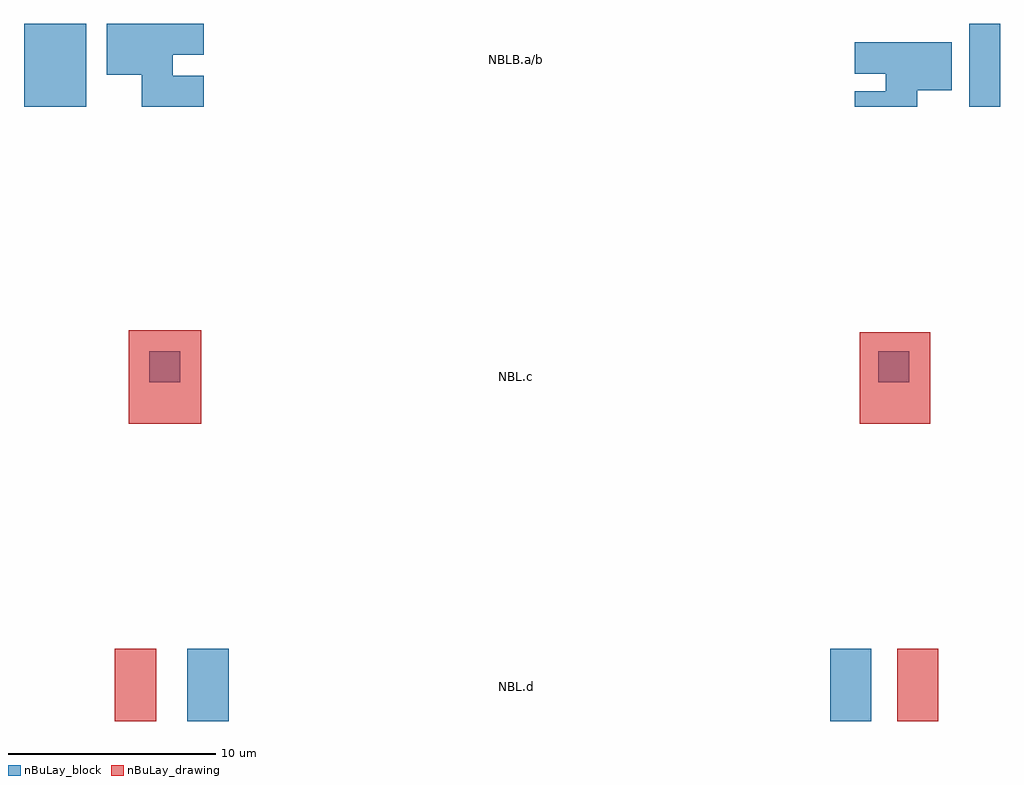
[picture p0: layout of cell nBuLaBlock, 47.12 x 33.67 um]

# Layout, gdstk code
import gdstk
lib = gdstk.Library(unit=1e-6, precision=1e-09)
def R(c, l, rs):  # rectangles x0, y0, x1, y1
    for r in rs: c.add(gdstk.rectangle(r[:2], r[2:], *l))
def P(c, l, *ps):  # polygons
    for p in ps: c.add(gdstk.Polygon(p, *l))
nBuLay_drawing = (32, 0)
nBuLay_block = (32, 21)

nbulablock = lib.new_cell('nBuLaBlock')
R(nbulablock, nBuLay_drawing, [(-19.405,-39.22,-17.405,-35.72), (18.36,-39.22,20.36,-35.72), (-18.74,-24.85,-15.24,-20.35), (16.56,-24.85,19.96,-20.45)])
R(nbulablock, nBuLay_block, [(-15.905,-39.22,-13.905,-35.72), (15.125,-39.22,17.125,-35.72), (-17.74,-22.85,-16.24,-21.35), (17.46,-22.85,18.96,-21.35), (-23.79,-9.545,-20.79,-5.545), (21.835,-9.545,23.33,-5.545)])
P(nbulablock, nBuLay_block, [(16.325,-9.545),(16.325,-8.8),(17.825,-8.8),(17.825,-7.95),(16.325,-7.95),(16.325,-6.45),(21.01,-6.45),(21.01,-8.755),(19.325,-8.755),(19.325,-9.545)],
  [(-18.105,-9.545),(-18.105,-8),(-19.79,-8),(-19.79,-5.545),(-15.105,-5.545),(-15.105,-7.045),(-16.605,-7.045),(-16.605,-8.045),(-15.105,-8.045),(-15.105,-9.545)])
nbulablock.add(gdstk.Label('5.4 nBuLay:block', (0,21), layer=63, texttype=0))
nbulablock.add(gdstk.Label('FAIL', (12,5), layer=63, texttype=0))
nbulablock.add(gdstk.Label('NBL.d', (0,-37.55), layer=63, texttype=0))
nbulablock.add(gdstk.Label('NBLB.a/b', (0,-7.295), layer=63, texttype=0))
nbulablock.add(gdstk.Label('PASS', (-12,5), layer=63, texttype=0))
nbulablock.add(gdstk.Label('NBL.c', (0,-22.56), layer=63, texttype=0))

lib.write_gds('nBuLaBlock.gds')
